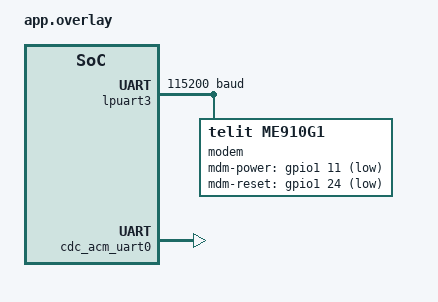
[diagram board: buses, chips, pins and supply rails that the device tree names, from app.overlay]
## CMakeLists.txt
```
# SPDX-License-Identifier: Apache-2.0

cmake_minimum_required(VERSION 3.20.0)

find_package(Zephyr REQUIRED HINTS $ENV{ZEPHYR_BASE})
project(app)

target_include_directories(app PRIVATE
    ${CMAKE_SOURCE_DIR}/src/
    ${CMAKE_SOURCE_DIR}/src/network
    ${CMAKE_SOURCE_DIR}/src/usb
)

include(${ZEPHYR_BASE}/samples/subsys/usb/common/common.cmake)

target_sources(app PRIVATE "src/main.c" "src/network/lte.c" "src/usb/usb.c" "src/network/network.c")

target_sources_ifdef(CONFIG_NET_DHCPV4 app PRIVATE "src/network/dhcp.c")
```

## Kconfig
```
#
# Copyright (c) 2022 Nordic Semiconductor
#
# SPDX-License-Identifier: LicenseRef-Nordic-5-Clause
# mainmenu "AWS IoT Core MQTT sample application"

source "samples/subsys/usb/common/Kconfig.sample_usbd"
source "Kconfig.zephyr"
```

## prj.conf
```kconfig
# USB Sample
CONFIG_USB_DEVICE_STACK_NEXT=y

CONFIG_STDOUT_CONSOLE=y
CONFIG_SERIAL=y
CONFIG_UART_LINE_CTRL=y
CONFIG_USBD_CDC_ACM_CLASS=y

CONFIG_USBD_CDC_ACM_LOG_LEVEL_OFF=y
CONFIG_USBD_LOG_LEVEL_OFF=y
CONFIG_LOG_BUFFER_SIZE=65536

CONFIG_SAMPLE_USBD_PID=0x0004
CONFIG_SAMPLE_USBD_PRODUCT="test"

#US Required
CONFIG_ETH_NATIVE_POSIX=n
CONFIG_NET_L2_ETHERNET=n
CONFIG_SHELL=y
CONFIG_NET_SHELL=y

#issue?
#CONFIG_NET_DHCPV4=y

# Logging
CONFIG_LOG=y
#CONFIG_DNS_RESOLVER_LOG_LEVEL_DBG=y
#CONFIG_MODEM_LOG_LEVEL_DBG=y
CONFIG_NET_LOG=y
#CONFIG_MODEM_MODULES_LOG_LEVEL_DBG=y
#CONFIG_NET_L2_PPP_LOG_LEVEL_DBG=y

CONFIG_NET_LOG=y
CONFIG_NET_IF_LOG_LEVEL_DBG=y
CONFIG_NET_L2_PPP_LOG_LEVEL_DBG=y

#CONFIG_MODEM_MODULES_LOG_LEVEL_DBG=y
#CONFIG_MODEM_LOG_LEVEL_DBG=y

# enable uart driver
CONFIG_SERIAL=y

# enable GPIO
CONFIG_GPIO=y

# Enable Clocks
CONFIG_CLOCK_CONTROL=y

# enable pin controller
CONFIG_PINCTRL=y

CONFIG_MODEM=y
CONFIG_MODEM_CELLULAR=y

CONFIG_NET_NATIVE=y
CONFIG_MODEM_PPP=y
CONFIG_NET_L2_PPP=y
CONFIG_NET_L2_PPP_OPTION_DNS_USE=y
CONFIG_MODEM_BACKEND_UART=y
CONFIG_UART_INTERRUPT_DRIVEN=y
CONFIG_TIMER_RANDOM_GENERATOR=y
CONFIG_TEST_RANDOM_GENERATOR=y
#CONFIG_MODEM_CELLULAR_NEW_BAUDRATE=921600

#CONFIG_MODEM_CELLULAR_APN="h2g2"
CONFIG_MODEM_CELLULAR_APN="super"
#CONFIG_MODEM_CELLULAR_APN="vzwapp"
#CONFIG_MODEM_CELLULAR_APN="xx.vzwentp"
#CONFIG_MODEM_CELLULAR_APN="m2mglobal"

CONFIG_NETWORKING=y
CONFIG_NET_IPV4=y
CONFIG_NET_IPV6=y
CONFIG_NET_TCP=y
CONFIG_NET_UDP=y
CONFIG_NET_CONTEXT_RCVTIMEO=y
CONFIG_NET_SOCKETS=y
# DNS
CONFIG_DNS_RESOLVER=y
CONFIG_NET_MAX_CONN=3

# Network management
CONFIG_NET_MGMT=y
CONFIG_NET_MGMT_EVENT=y
CONFIG_NET_CONNECTION_MANAGER=y

CONFIG_HTTP_CLIENT=y


CONFIG_POSIX_API=y
CONFIG_POSIX_TIMERS=y

# Power management
#CONFIG_PM=y
CONFIG_PM_DEVICE=y
CONFIG_PM_DEVICE_SYSTEM_MANAGED=n
# CONFIG_PM_DEVICE_RUNTIME=y
CONFIG_PM_POLICY_DEVICE_CONSTRAINTS=y

CONFIG_MAIN_STACK_SIZE=2048
CONFIG_IDLE_STACK_SIZE=2048
CONFIG_HW_STACK_PROTECTION=y
CONFIG_ARM_MPU=y  
```

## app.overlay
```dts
/ {
	chosen {
		zephyr,code-partition = &slot0_partition;
		zephyr,console = &cdc_acm_uart0;
		zephyr,shell-uart = &cdc_acm_uart0;
	};
        aliases {
                modem = &modem;
        };
};

&lpuart3{
        current-speed = <115200>;
        status = "okay";

        modem: modem {
                compatible = "telit,me910g1";
                mdm-power-gpios = <&gpio1 11 GPIO_ACTIVE_LOW>;
                mdm-reset-gpios = <&gpio1 24 GPIO_ACTIVE_LOW>;
                status = "okay";
        };
};


&zephyr_udc0 {
	cdc_acm_uart0: cdc_acm_uart0 {
		compatible = "zephyr,cdc-acm-uart";
	};
};
```

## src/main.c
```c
#include <zephyr/kernel.h>
#include <zephyr/logging/log.h>
#include <zephyr/sys/time_units.h>

#include "usb/usb.h"
#include "network/network.h"
#include "network/dhcp.h"

LOG_MODULE_REGISTER(MAIN, 4);

int main(void) {
    usb_init();
    LOG_WRN("Made with Love on %s: at %s UTC", __DATE__, __TIME__);

    LOG_DBG("Starting system initialization...");

    network_init();
    //app_dhcpv4_startup();
    while ( 1 ) {
	k_msleep(2000);
    }
}
```
